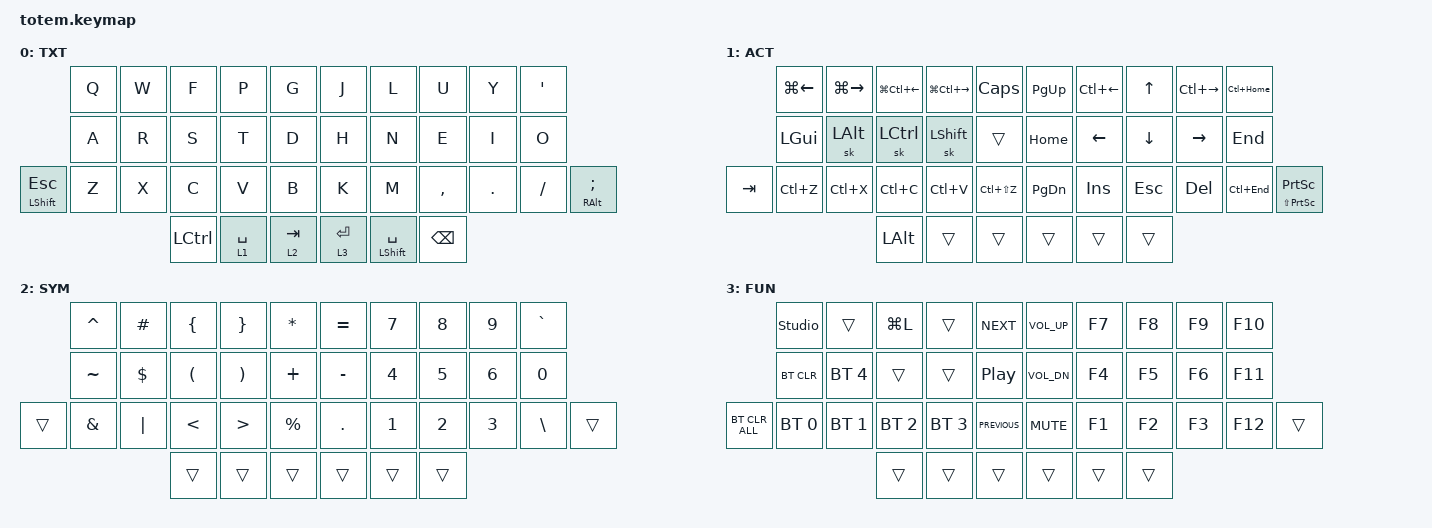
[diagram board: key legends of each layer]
#include <dt-bindings/zmk/mouse.h>
#include <behaviors.dtsi>
#include <dt-bindings/zmk/bt.h>
#include <dt-bindings/zmk/keys.h>

#define BASE 0
#define CODE 1
#define NAV  2
#define MOD  3
#define ADJ  4

/ {
    combos { compatible = "zmk,combos"; };

    macros {
        mac_lock: mac_lock_screen {
            compatible = "zmk,behavior-macro";
            #binding-cells = <0>;
            bindings =
                <&macro_press>,
                <&kp LGUI &kp LCTRL>,
                <&macro_pause_for_release>,
                <&macro_tap>,
                <&kp Q>,
                <&macro_release>,
                <&kp LGUI &kp LCTRL>;
        };

        win_lock: win_lock_screen {
            compatible = "zmk,behavior-macro";
            #binding-cells = <0>;
            bindings =
                <&macro_press>,
                <&kp LGUI>,
                <&macro_tap>,
                <&kp L>,
                <&macro_release>,
                <&kp LGUI>;
        };
    };

    keymap {
        compatible = "zmk,keymap";

        TXT {
            bindings = <
                       &kp Q  &kp W  &kp F             &kp P        &kp G        &kp J        &kp L                 &kp U          &kp Y    &kp SQT
                       &kp A  &kp R  &kp S             &kp T        &kp D        &kp H        &kp N                 &kp E          &kp I    &kp O
&mt LEFT_SHIFT ESCAPE  &kp Z  &kp X  &kp C             &kp V        &kp B        &kp K        &kp M                 &kp COMMA      &kp DOT  &kp FSLH  &mt RIGHT_ALT SEMI
                                     &kp LEFT_CONTROL  &lt 1 SPACE  &lt 2 TAB    &lt 3 ENTER  &mt LEFT_SHIFT SPACE  &kp BACKSPACE
            >;
        };

        ACT {
            bindings = <
         &kp LG(LEFT)  &kp LG(RIGHT)  &kp LG(LC(LEFT))  &kp LG(LC(RIGHT))  &kp CAPSLOCK     &kp PG_UP      &kp LC(LEFT)  &kp UP      &kp LC(RIGHT)  &kp LC(HOME)
         &kp LEFT_GUI  &sk LEFT_ALT   &sk LEFT_CONTROL  &sk LEFT_SHIFT     &trans           &kp HOME       &kp LEFT      &kp DOWN    &kp RIGHT      &kp END
&kp TAB  &kp LC(Z)     &kp LC(X)      &kp LC(C)         &kp LC(V)          &kp LC(LS(Z))    &kp PAGE_DOWN  &kp INSERT    &kp ESCAPE  &kp DEL        &kp LC(END)   &mt LS(PRINTSCREEN) PRINTSCREEN
                                      &kp LEFT_ALT      &trans             &trans           &trans         &trans        &trans
            >;
        };

        SYM {
            bindings = <
        &kp CARET      &kp HASH    &kp LEFT_BRACE        &kp RIGHT_BRACE        &kp STAR       &kp EQUAL   &kp N7  &kp N8  &kp N9  &kp GRAVE
        &kp TILDE      &kp DOLLAR  &kp LEFT_PARENTHESIS  &kp RIGHT_PARENTHESIS  &kp PLUS       &kp MINUS   &kp N4  &kp N5  &kp N6  &kp N0
&trans  &kp AMPERSAND  &kp PIPE    &kp LESS_THAN         &kp GREATER_THAN       &kp PERCENT    &kp PERIOD  &kp N1  &kp N2  &kp N3  &kp BSLH   &trans
                                   &trans                &trans                 &trans         &trans      &trans  &trans
            >;
        };

        FUN {
            bindings = <
                &studio_unlock  &trans        &kp LG(L)     &trans        &kp C_NEXT          &kp C_VOLUME_UP  &kp F7  &kp F8  &kp F9  &kp F10
                &bt BT_CLR      &bt BT_SEL 4  &trans        &trans        &kp C_PLAY_PAUSE    &kp C_VOL_DN     &kp F4  &kp F5  &kp F6  &kp F11
&bt BT_CLR_ALL  &bt BT_SEL 0    &bt BT_SEL 1  &bt BT_SEL 2  &bt BT_SEL 3  &kp C_PREVIOUS      &kp C_MUTE       &kp F1  &kp F2  &kp F3  &kp F12  &trans
                                              &trans        &trans        &trans              &trans           &trans  &trans
            >;
        };
    };
};

&sk {
    release-after-ms = <2000>;
    quick-release;
};

&msc { acceleration-exponent = <2>; };

&mt { tapping-term-ms = <150>; };
